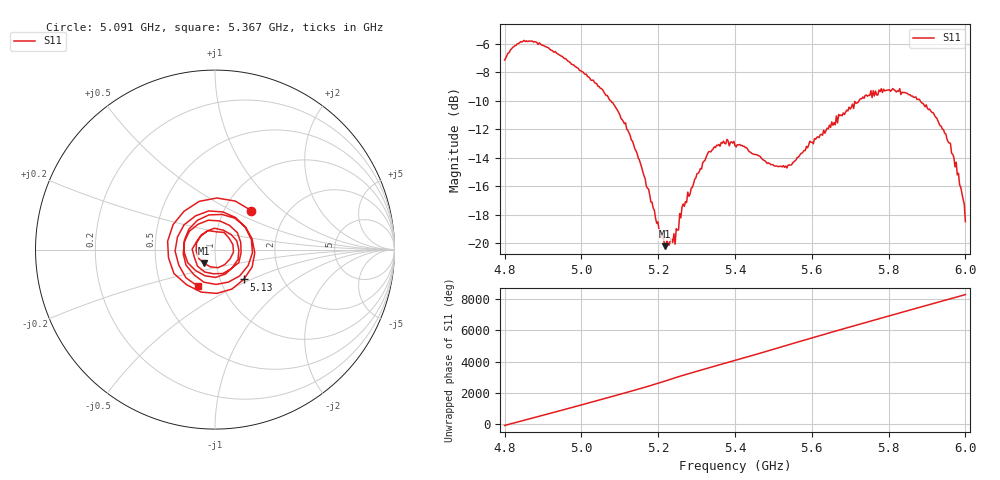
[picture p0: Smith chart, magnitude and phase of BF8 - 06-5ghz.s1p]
! NanoVNA-App
! Date: 2026-05-22 16:40:14
! Start: 4.8GHz Stop: 6GHz Points: 401
! S-Parameter data: F S11
# Hz S RI R 50
!  Frequency  S11_Real  S11_Imag
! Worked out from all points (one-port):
!   401 points, 4.8 GHz to 6 GHz, reference 50 ohm
!   lowest |S11| = -20.2 dB at 5.217 GHz (marker M1), VSWR 1.22, Z = 43.7 - j6.64 ohm
!   |S11| at or under -10 dB: 5.077 GHz to 5.723 GHz (646.3 MHz wide, 12 % of centre); 5.882 GHz to end of sweep
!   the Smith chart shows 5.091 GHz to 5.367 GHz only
!   S11 on the Smith chart (normalised r, x): 5.091 GHz: 1.33, +0.64; 5.13 GHz: 1.29, -0.45; 5.367 GHz: 0.76, -0.33
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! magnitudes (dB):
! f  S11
! 4.8 GHz  -7.1
! 4.827 GHz  -6.1
! 4.854 GHz  -5.8
! 4.896 GHz  -6.1
! 4.95 GHz  -6.9
! 5.034 GHz  -8.7
! 5.091 GHz  -10.5
! 5.1 GHz  -11.0
! 5.13 GHz  -12.7
! 5.157 GHz  -14.7
! 5.199 GHz  -18.5
! 5.217 GHz  -20.2
! 5.232 GHz  -19.7
! 5.25 GHz  -19.1
! 5.262 GHz  -17.5
! 5.322 GHz  -14.2
! 5.367 GHz  -13.0
! 5.4 GHz  -13.1
! 5.499 GHz  -14.5
! 5.55 GHz  -14.4
! 5.7 GHz  -10.6
! 5.781 GHz  -9.1
! 5.85 GHz  -9.5
! 5.913 GHz  -10.8
! 5.943 GHz  -12.0
! 5.955 GHz  -12.9
! 5.976 GHz  -14.3
! 6 GHz  -18.5
